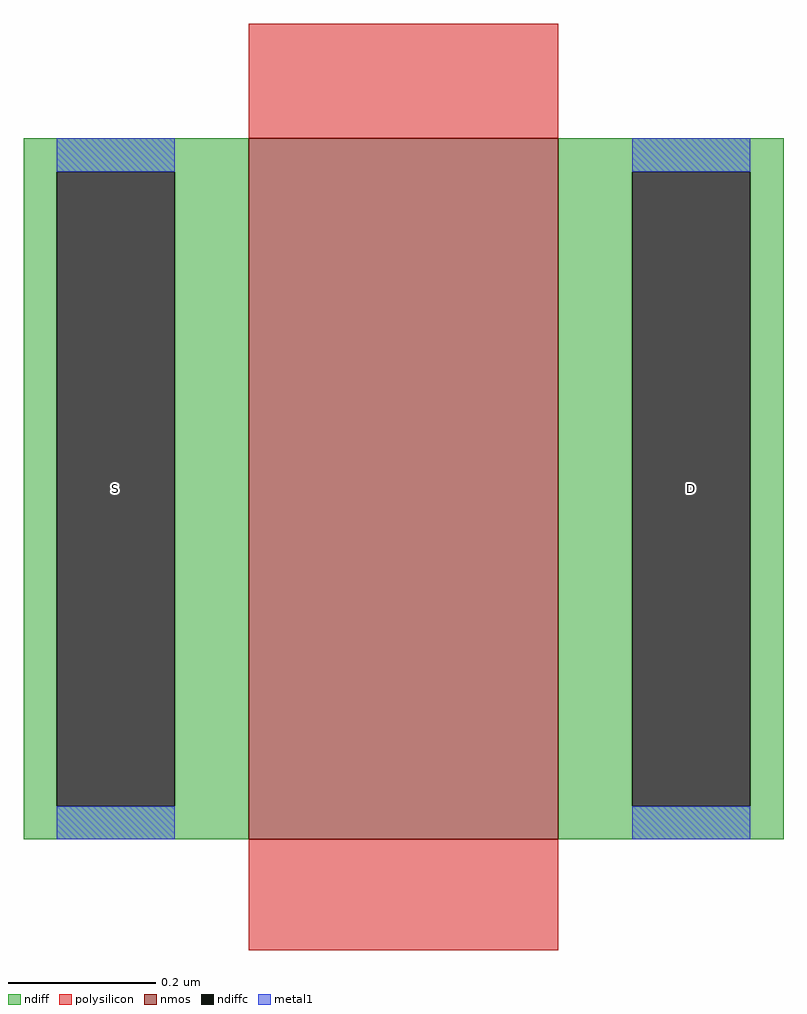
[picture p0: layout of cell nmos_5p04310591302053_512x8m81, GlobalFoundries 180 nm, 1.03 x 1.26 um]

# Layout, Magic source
magic
tech gf180mcuD
magscale 1 10
<< nmos >>
rect 0 0 84 190
<< ndiff >>
rect -61 181 0 190
rect -61 9 -52 181
rect -20 9 0 181
rect -61 0 0 9
rect 84 181 145 190
rect 84 9 104 181
rect 136 9 145 181
rect 84 0 145 9
<< ndiffc >>
rect -52 9 -20 181
rect 104 9 136 181
<< polysilicon >>
rect 0 190 84 221
rect 0 -30 84 0
<< metal1 >>
rect -52 181 -20 190
rect -52 0 -20 9
rect 104 181 136 190
rect 104 0 136 9
<< labels >>
flabel ndiffc -36 95 -36 95 0 FreeSans 140 0 0 0 S
flabel ndiffc 120 95 120 95 0 FreeSans 140 0 0 0 D
<< end >>
